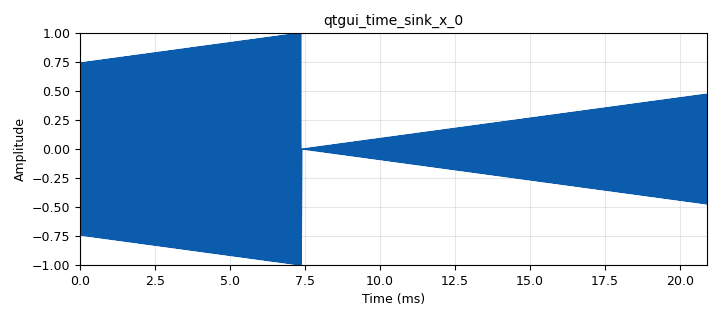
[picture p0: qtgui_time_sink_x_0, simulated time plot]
options:
  parameters:
    author: JRJA
    copyright: UIS
    generate_options: qt_gui
    id: Funcionamiento3P2
    output_language: python
    title: Funcionamiento3P2
  states: {}

blocks:
- name: Amplitud
  id: variable_qtgui_range
  parameters:
    start: '0'
    step: '0.1'
    stop: '25'
    value: '1'
  states: {}
- name: samp_rate
  id: variable
  parameters:
    value: 24480*2
  states: {}
- name: CalculoPComunicaciones_0
  id: CalculoPComunicaciones
  parameters:
    l_vect: '1024'
  states: {}
- name: analog_sig_source_x_0
  id: analog_sig_source_x
  parameters:
    amp: Amplitud
    freq: '35'
    offset: '0'
    phase: '0'
    samp_rate: samp_rate
    type: float
    waveform: analog.GR_SAW_WAVE
  states: {}
- name: analog_sig_source_x_0_0
  id: analog_sig_source_x
  parameters:
    amp: Amplitud
    freq: '24480'
    offset: '0'
    phase: '0'
    samp_rate: samp_rate
    type: float
    waveform: analog.GR_COS_WAVE
  states: {}
- name: blocks_multiply_xx_0
  id: blocks_multiply_xx
  parameters:
    type: float
  states: {}
- name: blocks_throttle_0
  id: blocks_throttle
  parameters:
    samples_per_second: samp_rate
    type: float
  states: {}
- name: qtgui_time_sink_x_0
  id: qtgui_time_sink_x
  parameters:
    size: '1024'
    srate: samp_rate
    type: float
  states: {}

connections:
- [analog_sig_source_x_0, '0', blocks_multiply_xx_0, '0']
- [analog_sig_source_x_0_0, '0', blocks_multiply_xx_0, '1']
- [blocks_multiply_xx_0, '0', blocks_throttle_0, '0']
- [blocks_throttle_0, '0', CalculoPComunicaciones_0, '0']
- [blocks_throttle_0, '0', qtgui_time_sink_x_0, '0']

metadata:
  file_format: 1
